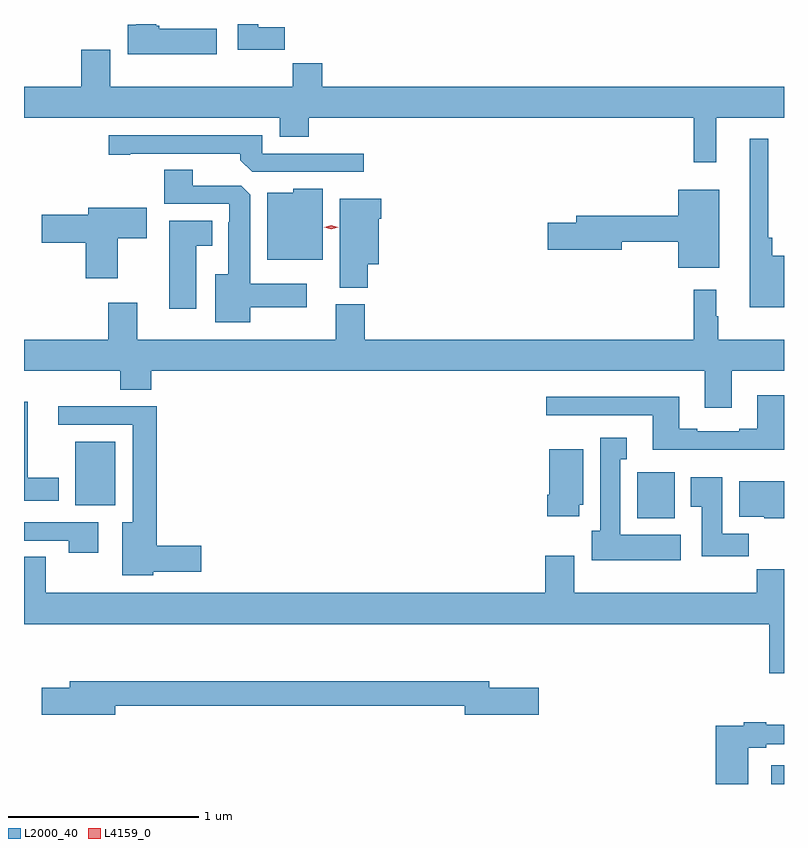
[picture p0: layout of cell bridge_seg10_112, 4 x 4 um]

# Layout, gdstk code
import gdstk
lib = gdstk.Library(unit=1e-6, precision=1e-09)
def R(c, l, rs):  # rectangles x0, y0, x1, y1
    for r in rs: c.add(gdstk.rectangle(r[:2], r[2:], *l))
def P(c, l, *ps):  # polygons
    for p in ps: c.add(gdstk.Polygon(p, *l))
L2000_40 = (2000, 40)
L4159_0 = (4159, 0)

bridge_seg10_112 = lib.new_cell('bridge_seg10_112')
R(bridge_seg10_112, L2000_40, [(414.929,1284.822,414.997,1284.922), (414.224,1286.222,414.421,1286.464), (411.266,1286.288,411.478,1286.623)])
P(bridge_seg10_112, L2000_40, [(412.012,1288.798),(411.708,1288.798),(411.708,1288.812),(411.694,1288.812),(411.694,1288.822),(411.587,1288.822),(411.587,1288.818),(411.542,1288.818),(411.542,1288.664),(412.012,1288.664)],
  [(412.37,1288.804),(412.231,1288.804),(412.231,1288.822),(412.121,1288.822),(412.121,1288.686),(412.37,1288.686)],
  [(414.641,1288.328),(414.997,1288.328),(414.997,1288.492),(412.568,1288.492),(412.568,1288.616),(412.411,1288.616),(412.411,1288.492),(411.451,1288.492),(411.451,1288.687),(411.299,1288.687),(411.299,1288.492),(410.997,1288.492),(410.997,1288.328),(412.343,1288.328),(412.343,1288.229),(412.496,1288.229),(412.496,1288.328),(414.523,1288.328),(414.523,1288.095),(414.641,1288.095)],
  [(412.786,1288.14),(412.251,1288.14),(412.251,1288.236),(411.444,1288.236),(411.444,1288.135),(411.556,1288.135),(411.556,1288.14),(412.136,1288.14),(412.136,1288.106),(412.197,1288.044),(412.786,1288.044)],
  [(414.997,1287.601),(414.935,1287.601),(414.935,1287.697),(414.915,1287.697),(414.915,1288.219),(414.818,1288.219),(414.818,1287.332),(414.997,1287.332)],
  [(412.189,1287.332),(412.486,1287.332),(412.486,1287.454),(412.189,1287.454),(412.189,1287.923),(412.14,1287.972),(411.886,1287.972),(411.886,1288.055),(411.734,1288.055),(411.734,1287.876),(412.077,1287.876),(412.077,1287.779),(412.073,1287.779),(412.073,1287.505),(412.004,1287.505),(412.004,1287.251),(412.189,1287.251)],
  [(412.57,1287.955),(412.413,1287.955),(412.413,1287.934),(412.277,1287.934),(412.277,1287.581),(412.57,1287.581)],
  [(414.655,1287.949),(414.44,1287.949),(414.44,1287.812),(413.903,1287.812),(413.903,1287.776),(413.754,1287.776),(413.754,1287.634),(414.142,1287.634),(414.142,1287.676),(414.44,1287.676),(414.44,1287.539),(414.655,1287.539)],
  [(412.805,1287.557),(412.864,1287.557),(412.864,1287.797),(412.877,1287.797),(412.877,1287.901),(412.658,1287.901),(412.658,1287.433),(412.805,1287.433)],
  [(411.49,1287.694),(411.643,1287.694),(411.643,1287.856),(411.335,1287.856),(411.335,1287.818),(411.09,1287.818),(411.09,1287.671),(411.323,1287.671),(411.323,1287.483),(411.49,1287.483)],
  [(411.904,1287.656),(411.988,1287.656),(411.988,1287.787),(411.761,1287.787),(411.761,1287.324),(411.904,1287.324)],
  [(414.721,1286.996),(414.997,1286.996),(414.997,1287.16),(414.652,1287.16),(414.652,1287.284),(414.64,1287.284),(414.64,1287.424),(414.523,1287.424),(414.523,1287.16),(412.79,1287.16),(412.79,1287.348),(412.637,1287.348),(412.637,1287.16),(411.592,1287.16),(411.592,1287.355),(411.44,1287.355),(411.44,1287.16),(410.997,1287.16),(410.997,1286.996),(411.503,1286.996),(411.503,1286.897),(411.668,1286.897),(411.668,1286.996),(414.581,1286.996),(414.581,1286.802),(414.721,1286.802)],
  [(414.997,1286.869),(414.857,1286.869),(414.857,1286.692),(414.761,1286.692),(414.761,1286.679),(414.541,1286.679),(414.541,1286.692),(414.445,1286.692),(414.445,1286.86),(413.745,1286.86),(413.745,1286.763),(414.305,1286.763),(414.305,1286.582),(414.997,1286.582)],
  [(411.181,1286.434),(411.016,1286.434),(411.016,1286.833),(410.997,1286.833),(410.997,1286.312),(411.181,1286.312)],
  [(411.678,1285.94),(411.931,1285.94),(411.931,1286.075),(411.695,1286.075),(411.695,1286.81),(411.177,1286.81),(411.177,1286.712),(411.569,1286.712),(411.569,1286.2),(411.515,1286.2),(411.515,1285.922),(411.678,1285.922)],
  [(414.454,1286.134),(414.136,1286.134),(414.136,1286.531),(414.169,1286.531),(414.169,1286.644),(414.029,1286.644),(414.029,1286.154),(413.984,1286.154),(413.984,1286),(414.454,1286)],
  [(413.92,1286.292),(413.941,1286.292),(413.941,1286.584),(413.762,1286.584),(413.762,1286.344),(413.75,1286.344),(413.75,1286.232),(413.92,1286.232)],
  [(414.812,1286.14),(414.673,1286.14),(414.673,1286.437),(414.506,1286.437),(414.506,1286.281),(414.563,1286.281),(414.563,1286.022),(414.812,1286.022)],
  [(414.997,1286.416),(414.761,1286.416),(414.761,1286.228),(414.894,1286.228),(414.894,1286.222),(414.997,1286.222)],
  [(411.388,1286.199),(410.997,1286.199),(410.997,1286.103),(411.232,1286.103),(411.232,1286.04),(411.388,1286.04)],
  [(414.997,1285.952),(414.853,1285.952),(414.853,1285.828),(413.893,1285.828),(413.893,1286.023),(413.741,1286.023),(413.741,1285.828),(411.111,1285.828),(411.111,1286.018),(410.997,1286.018),(410.997,1285.664),(414.919,1285.664),(414.919,1285.404),(414.997,1285.404)],
  [(411.478,1285.234),(413.318,1285.234),(413.318,1285.187),(413.707,1285.187),(413.707,1285.329),(413.446,1285.329),(413.446,1285.363),(411.239,1285.363),(411.239,1285.329),(411.09,1285.329),(411.09,1285.187),(411.478,1285.187)],
  [(414.808,1285.012),(414.904,1285.012),(414.904,1285.032),(414.997,1285.032),(414.997,1285.133),(414.904,1285.133),(414.904,1285.148),(414.784,1285.148),(414.784,1285.128),(414.638,1285.128),(414.638,1284.822),(414.808,1284.822)])
P(bridge_seg10_112, L4159_0, [(412.614,1287.743),(412.578,1287.752),(412.577,1287.753),(412.578,1287.753),(412.614,1287.763),(412.651,1287.753),(412.651,1287.753),(412.651,1287.752)])

lib.write_gds('bridge_seg10_112.gds')
